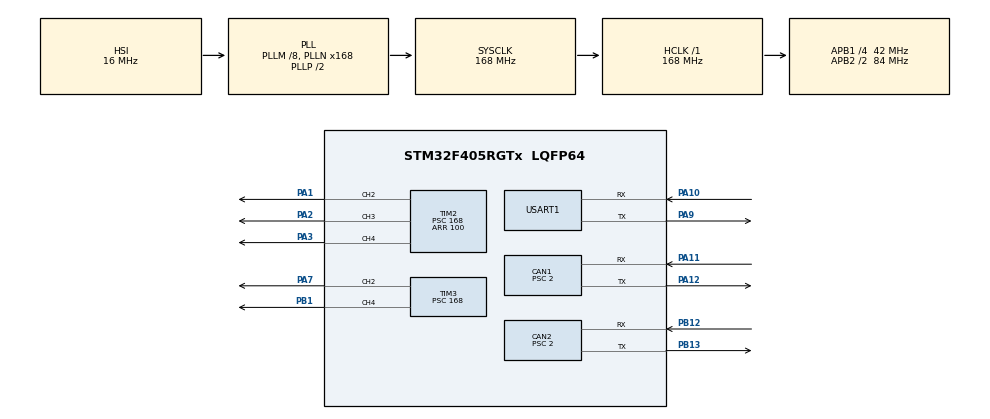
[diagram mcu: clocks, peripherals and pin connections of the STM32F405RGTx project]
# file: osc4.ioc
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CAN1.BS1=CAN_BS1_15TQ
CAN1.BS2=CAN_BS2_5TQ
CAN1.CalculateBaudRate=1000000
CAN1.CalculateTimeBit=1000
CAN1.CalculateTimeQuantum=47.61904761904762
CAN1.Prescaler=2
CAN1.SJW=CAN_SJW_2TQ
CAN2.BS1=CAN_BS1_15TQ
CAN2.BS2=CAN_BS2_5TQ
CAN2.CalculateBaudRate=1000000
CAN2.CalculateTimeBit=1000
CAN2.CalculateTimeQuantum=47.61904761904762
CAN2.Prescaler=2
FREERTOS.Tasks01=defaultTask,24,128,StartDefaultTask,Default,NULL,Dynamic,NULL,NULL;myTask02,8,128,StartTask02,Default,NULL,Dynamic,NULL,NULL;myTask03,8,128,StartTask03,Default,NULL,Dynamic,NULL,NULL;myTask04,8,128,StartTask04,Default,NULL,Dynamic,NULL,NULL
Mcu.Family=STM32F4
Mcu.Name=STM32F405RGTx
Mcu.Package=LQFP64
NVIC.CAN1_RX0_IRQn=true\:5\:0\:false\:false\:true\:true\:true\:true\:true
NVIC.CAN2_RX0_IRQn=true\:5\:0\:false\:false\:true\:true\:true\:true\:true
NVIC.PriorityGroup=NVIC_PRIORITYGROUP_4
NVIC.TIM7_IRQn=true\:15\:0\:false\:false\:true\:false\:false\:true\:true
NVIC.TimeBase=TIM7_IRQn
NVIC.TimeBaseIP=TIM7
PA1.Signal=S_TIM2_CH2
PA10.Mode=Asynchronous
PA10.Signal=USART1_RX
PA11.Mode=CAN_Activate
PA11.Signal=CAN1_RX
PA12.Mode=CAN_Activate
PA12.Signal=CAN1_TX
PA13.Mode=Serial_Wire
PA13.Signal=SYS_JTMS-SWDIO
PA14.Mode=Serial_Wire
PA14.Signal=SYS_JTCK-SWCLK
PA2.Signal=S_TIM2_CH3
PA3.Signal=S_TIM2_CH4
PA7.Signal=S_TIM3_CH2
PA9.Mode=Asynchronous
PA9.Signal=USART1_TX
PB1.Signal=S_TIM3_CH4
PB12.Mode=CAN_Activate
PB12.Signal=CAN2_RX
PB13.Mode=CAN_Activate
PB13.Signal=CAN2_TX
PC14-OSC32_IN.Mode=LSE-External-Oscillator
PC14-OSC32_IN.Signal=RCC_OSC32_IN
PC15-OSC32_OUT.Mode=LSE-External-Oscillator
PC15-OSC32_OUT.Signal=RCC_OSC32_OUT
PH0-OSC_IN.Mode=HSE-External-Oscillator
PH0-OSC_IN.Signal=RCC_OSC_IN
PH1-OSC_OUT.Mode=HSE-External-Oscillator
PH1-OSC_OUT.Signal=RCC_OSC_OUT
ProjectManager.HeapSize=0x200
ProjectManager.StackSize=0x400
ProjectManager.TargetToolchain=MDK-ARM V5.32
RCC.48MHZClocksFreq_Value=84000000
RCC.AHBFreq_Value=168000000
RCC.APB1CLKDivider=RCC_HCLK_DIV4
RCC.APB1Freq_Value=42000000
RCC.APB1TimFreq_Value=84000000
RCC.APB2CLKDivider=RCC_HCLK_DIV2
RCC.APB2Freq_Value=84000000
RCC.APB2TimFreq_Value=168000000
RCC.CortexFreq_Value=168000000
RCC.HCLKFreq_Value=168000000
RCC.HSE_VALUE=25000000
RCC.HSI_VALUE=16000000
RCC.PLLM=8
RCC.PLLN=168
RCC.SYSCLKFreq_VALUE=168000000
RCC.SYSCLKSource=RCC_SYSCLKSOURCE_PLLCLK
RCC.VCOOutputFreq_Value=336000000
SH.S_TIM2_CH2.0=TIM2_CH2,PWM Generation2 CH2
SH.S_TIM2_CH3.0=TIM2_CH3,PWM Generation3 CH3
SH.S_TIM2_CH4.0=TIM2_CH4,PWM Generation4 CH4
SH.S_TIM3_CH2.0=TIM3_CH2,PWM Generation2 CH2
SH.S_TIM3_CH4.0=TIM3_CH4,PWM Generation4 CH4
TIM2.Channel-PWM\ Generation2\ CH2=TIM_CHANNEL_2
TIM2.Channel-PWM\ Generation3\ CH3=TIM_CHANNEL_3
TIM2.Channel-PWM\ Generation4\ CH4=TIM_CHANNEL_4
TIM2.Period=100
TIM2.Prescaler=168
TIM2.Pulse-PWM\ Generation2\ CH2=50
TIM2.Pulse-PWM\ Generation3\ CH3=50
TIM2.Pulse-PWM\ Generation4\ CH4=50
TIM3.Channel-PWM\ Generation2\ CH2=TIM_CHANNEL_2
TIM3.Channel-PWM\ Generation4\ CH4=TIM_CHANNEL_4
TIM3.Period=100
TIM3.Prescaler=168
TIM3.Pulse-PWM\ Generation2\ CH2=50
TIM3.Pulse-PWM\ Generation4\ CH4=50
USART1.VirtualMode=VM_ASYNC
VP_FREERTOS_VS_CMSIS_V2.Mode=CMSIS_V2
VP_SYS_VS_tim7.Mode=TIM7
VP_TIM2_VS_ClockSourceINT.Mode=Internal
VP_TIM3_VS_ClockSourceINT.Mode=Internal
board=custom

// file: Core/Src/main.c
/* USER CODE BEGIN Header */
/**
  ******************************************************************************
  * @file           : main.c
  * @brief          : Main program body
  ******************************************************************************
  * @attention
  *
  * Copyright (c) 2024 STMicroelectronics.
  * All rights reserved.
  *
  * This software is licensed under terms that can be found in the LICENSE file
  * in the root directory of this software component.
  * If no LICENSE file comes with this software, it is provided AS-IS.
  *
  ******************************************************************************
  */
/* USER CODE END Header */
#include "main.h"
#include "cmsis_os.h"
#include "can.h"
#include "tim.h"
#include "usart.h"
#include "gpio.h"

void SystemClock_Config(void);
void MX_FREERTOS_Init(void);

int main(void)
{

  /* MCU Configuration--------------------------------------------------------*/

  /* Reset of all peripherals, Initializes the Flash interface and the Systick. */
  HAL_Init();

  /* Configure the system clock */
  SystemClock_Config();

  /* Initialize all configured peripherals */
  MX_GPIO_Init();
  MX_CAN1_Init();
  MX_TIM2_Init();
  MX_TIM3_Init();
  MX_USART1_UART_Init();
  MX_CAN2_Init();

  /* Init scheduler */
  osKernelInitialize();

  /* Call init function for freertos objects (in cmsis_os2.c) */
  MX_FREERTOS_Init();

  /* Start scheduler */
  osKernelStart();

  /* We should never get here as control is now taken by the scheduler */

  /* Infinite loop */
  while (1)
  {

  }
}

void SystemClock_Config(void)
{
  RCC_OscInitTypeDef RCC_OscInitStruct = {0};
  RCC_ClkInitTypeDef RCC_ClkInitStruct = {0};

  /** Configure the main internal regulator output voltage
  */
  __HAL_RCC_PWR_CLK_ENABLE();
  __HAL_PWR_VOLTAGESCALING_CONFIG(PWR_REGULATOR_VOLTAGE_SCALE1);

  /** Initializes the RCC Oscillators according to the specified parameters
  * in the RCC_OscInitTypeDef structure.
  */
  RCC_OscInitStruct.OscillatorType = RCC_OSCILLATORTYPE_HSI;
  RCC_OscInitStruct.HSIState = RCC_HSI_ON;
  RCC_OscInitStruct.HSICalibrationValue = RCC_HSICALIBRATION_DEFAULT;
  RCC_OscInitStruct.PLL.PLLState = RCC_PLL_ON;
  RCC_OscInitStruct.PLL.PLLSource = RCC_PLLSOURCE_HSI;
  RCC_OscInitStruct.PLL.PLLM = 8;
  RCC_OscInitStruct.PLL.PLLN = 168;
  RCC_OscInitStruct.PLL.PLLP = RCC_PLLP_DIV2;
  RCC_OscInitStruct.PLL.PLLQ = 4;
  if (HAL_RCC_OscConfig(&RCC_OscInitStruct) != HAL_OK)
  {
    Error_Handler();
  }

  /** Initializes the CPU, AHB and APB buses clocks
  */
  RCC_ClkInitStruct.ClockType = RCC_CLOCKTYPE_HCLK|RCC_CLOCKTYPE_SYSCLK
                              |RCC_CLOCKTYPE_PCLK1|RCC_CLOCKTYPE_PCLK2;
  RCC_ClkInitStruct.SYSCLKSource = RCC_SYSCLKSOURCE_PLLCLK;
  RCC_ClkInitStruct.AHBCLKDivider = RCC_SYSCLK_DIV1;
  RCC_ClkInitStruct.APB1CLKDivider = RCC_HCLK_DIV4;
  RCC_ClkInitStruct.APB2CLKDivider = RCC_HCLK_DIV2;

  if (HAL_RCC_ClockConfig(&RCC_ClkInitStruct, FLASH_LATENCY_5) != HAL_OK)
  {
    Error_Handler();
  }
}

void HAL_TIM_PeriodElapsedCallback(TIM_HandleTypeDef *htim)
{
  if (htim->Instance == TIM7) {
    HAL_IncTick();
  }
}

void Error_Handler(void)
{
  __disable_irq();
  while (1)
  {
  }
}

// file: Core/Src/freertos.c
/* USER CODE BEGIN Header */
/**
  ******************************************************************************
  * File Name          : freertos.c
  * Description        : Code for freertos applications
  ******************************************************************************
  * @attention
  *
  * Copyright (c) 2024 STMicroelectronics.
  * All rights reserved.
  *
  * This software is licensed under terms that can be found in the LICENSE file
  * in the root directory of this software component.
  * If no LICENSE file comes with this software, it is provided AS-IS.
  *
  ******************************************************************************
  */
/* USER CODE END Header */

#include "FreeRTOS.h"
#include "task.h"
#include "main.h"
#include "cmsis_os.h"

/* USER CODE BEGIN Includes */
#include "can.h"
#include "usart.h"
#include <stdio.h>
#include "tim.h"

/* USER CODE END Includes */

/* Definitions for defaultTask */
osThreadId_t defaultTaskHandle;
const osThreadAttr_t defaultTask_attributes = {
  .name = "defaultTask",
  .stack_size = 128 * 4,
  .priority = (osPriority_t) osPriorityNormal,
};
/* Definitions for myTask02 */
osThreadId_t myTask02Handle;
const osThreadAttr_t myTask02_attributes = {
  .name = "myTask02",
  .stack_size = 128 * 4,
  .priority = (osPriority_t) osPriorityLow,
};
/* Definitions for myTask03 */
osThreadId_t myTask03Handle;
const osThreadAttr_t myTask03_attributes = {
  .name = "myTask03",
  .stack_size = 128 * 4,
  .priority = (osPriority_t) osPriorityLow,
};
/* Definitions for myTask04 */
osThreadId_t myTask04Handle;
const osThreadAttr_t myTask04_attributes = {
  .name = "myTask04",
  .stack_size = 128 * 4,
  .priority = (osPriority_t) osPriorityLow,
};

void StartDefaultTask(void *argument);
void StartTask02(void *argument);
void StartTask03(void *argument);
void StartTask04(void *argument);

void MX_FREERTOS_Init(void); /* (MISRA C 2004 rule 8.1) */

void MX_FREERTOS_Init(void) {

  /* Create the thread(s) */
  /* creation of defaultTask */
  defaultTaskHandle = osThreadNew(StartDefaultTask, NULL, &defaultTask_attributes);

  /* creation of myTask02 */
  myTask02Handle = osThreadNew(StartTask02, NULL, &myTask02_attributes);

  /* creation of myTask03 */
  myTask03Handle = osThreadNew(StartTask03, NULL, &myTask03_attributes);

  /* creation of myTask04 */
  myTask04Handle = osThreadNew(StartTask04, NULL, &myTask04_attributes);

}

void StartDefaultTask(void *argument)
{
  /* USER CODE BEGIN StartDefaultTask */
  /* Infinite loop */
  for(;;)
  {
    vTaskDelete(NULL);
  }
  /* USER CODE END StartDefaultTask */
}

void StartTask02(void *argument)
{
  /* USER CODE BEGIN StartTask02 */
    CAN_Init(&hcan1);
    CAN_Init(&hcan2);
    CAN1_Filter_Mask_Config(&hcan1, CAN_FILTER(0) | CAN_FIFO_1 | CAN_STDID | CAN_DATA_TYPE, 0x1FF, 0x7ff);
    CAN2_Filter_Mask_Config(&hcan2, CAN_FILTER(14) | CAN_FIFO_1 | CAN_STDID | CAN_DATA_TYPE, 0x1FF, 0x7ff);
    uint8_t Send_Data = 0;
    /* Infinite loop */
  for(;;)
  {
    vTaskDelay(5);
    CAN_Send_Data(&hcan1, 0x1FF, &Send_Data, 1);
    vTaskDelay(1);
  }
  /* USER CODE END StartTask02 */
}

void StartTask03(void *argument)
{
  /* USER CODE BEGIN StartTask03 */
  /* Infinite loop */
  for(;;)
  {
    printf("LMY\n");
    vTaskDelay(1);
  }
  /* USER CODE END StartTask03 */
}

void StartTask04(void *argument)
{
  /* USER CODE BEGIN StartTask04 */
    HAL_TIM_PWM_Start(&htim2,TIM_CHANNEL_2);
    HAL_TIM_PWM_Start(&htim2,TIM_CHANNEL_3);
    HAL_TIM_PWM_Start(&htim2,TIM_CHANNEL_4);
    HAL_TIM_PWM_Start(&htim3,TIM_CHANNEL_2);
    HAL_TIM_PWM_Start(&htim3,TIM_CHANNEL_4);
  /* Infinite loop */
  for(;;)
  {
     for(int i = 0;i < 100;i++)
    {
        __HAL_TIM_SET_COMPARE(&htim2,TIM_CHANNEL_2,i);
        __HAL_TIM_SET_COMPARE(&htim2,TIM_CHANNEL_3,i);
        __HAL_TIM_SET_COMPARE(&htim2,TIM_CHANNEL_4,i);
        __HAL_TIM_SET_COMPARE(&htim3,TIM_CHANNEL_2,i);
        __HAL_TIM_SET_COMPARE(&htim3,TIM_CHANNEL_4,i);
        vTaskDelay(10);
    }
    for(int i = 0;i < 100;i++)
    {
        __HAL_TIM_SET_COMPARE(&htim2,TIM_CHANNEL_2,i);
        __HAL_TIM_SET_COMPARE(&htim2,TIM_CHANNEL_3,i);
        __HAL_TIM_SET_COMPARE(&htim2,TIM_CHANNEL_4,i);
        __HAL_TIM_SET_COMPARE(&htim3,TIM_CHANNEL_2,i);
        __HAL_TIM_SET_COMPARE(&htim3,TIM_CHANNEL_4,i);
        vTaskDelay(10);
    }
    vTaskDelay(1);
  }
  /* USER CODE END StartTask04 */
}
